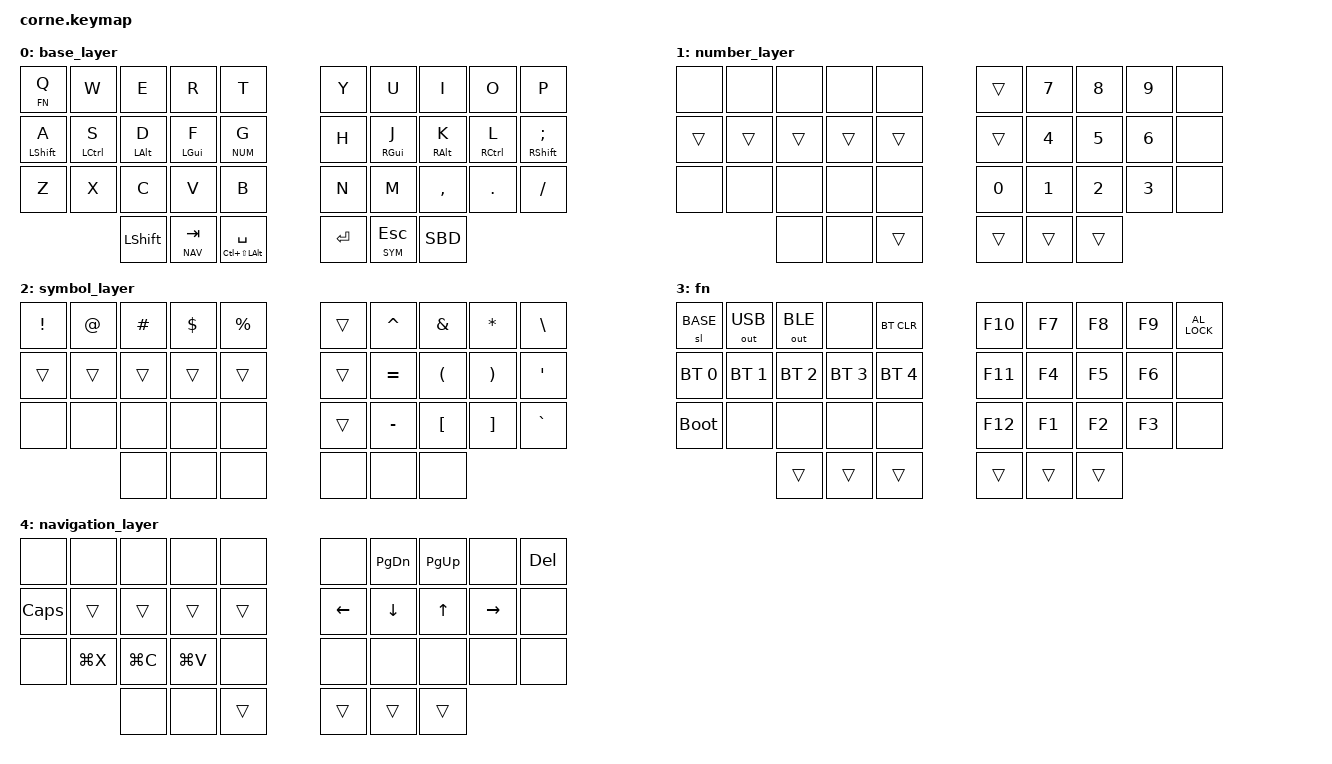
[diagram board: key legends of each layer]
#include <dt-bindings/zmk/keys.h>
#include <dt-bindings/zmk/outputs.h>
#include <dt-bindings/zmk/bt.h>

#include <behaviors.dtsi>

#include "zmk-helpers/helper.h"
#include "keys/36.h"


// global
#define QUICK_TAP_MS 150
#define TAPPING_TERM_MS 200
#define PRIOR_IDLE_MS 150

// layers
#define BASE 0
#define NUM 1
#define SYM 2
#define FN 3
#define NAV 4

// redefined keycodes
#define _LWIN_    &kp LEFT_WIN
#define _RALT_    &kp RIGHT_ALT
#define _SPC_     &kp SPACE
#define _RET_     &kp RETURN 
#define _CUT_     &kp LG(X)
#define _COPY_    &kp LG(C)
#define _PASTE_   &kp LG(V)

#define _MO_NUM_ &mo NUMBER

#define OUTTOG   &out OUT_TOG // toggle keyboard output bluetooth/usb
#define ___      &trans      //  transparent
#define _x_      &none

#define MEH LC(LS(LALT))

// tap: sticky-shift | shift + tap/ double-tap: caps-word | hold: shifts
ZMK_MOD_MORPH(smart_shift,
    bindings = <&sk LSHFT>, <&caps_word>;
    mods = <(MOD_LSFT)>;
)

/* left-hand HRMs */
ZMK_BEHAVIOR(hml, hold_tap,
    flavor = "balanced";
    tapping-term-ms = <TAPPING_TERM_MS>;
    quick-tap-ms = <QUICK_TAP_MS>;
    require-prior-idle-ms = <PRIOR_IDLE_MS>;
    bindings = <&kp>, <&kp>;
    hold-trigger-key-positions = <LEFT_KEYS THUMB_KEYS>;
    hold-trigger-on-release;
)

/* right-hand HRMs */
ZMK_BEHAVIOR(hmr, hold_tap,
    flavor = "balanced";
    tapping-term-ms = <TAPPING_TERM_MS>;
    quick-tap-ms = <QUICK_TAP_MS>;
    require-prior-idle-ms = <PRIOR_IDLE_MS>;
    bindings = <&kp>, <&kp>;
    hold-trigger-key-positions = <RIGHT_KEYS THUMB_KEYS>;
    hold-trigger-on-release;
)

/* left-hand HRM shift */
ZMK_BEHAVIOR(hml_s, hold_tap,
    flavor = "balanced";
    tapping-term-ms = <200>;
    quick-tap-ms = <175>;                // repeat on tap-into-hold
    require-prior-idle-ms = <150>;         // requires PR #1387
    bindings = <&kp>, <&kp>;
    hold-trigger-key-positions = <LEFT_KEYS THUMB_KEYS>;
    // hold-trigger-on-release;             // delay positional check until key-release
)

/* right-hand HRM shift */
ZMK_BEHAVIOR(hmr_s, hold_tap,
    flavor = "balanced";
    tapping-term-ms = <200>;
    quick-tap-ms = <175>;                // repeat on tap-into-hold
    require-prior-idle-ms = <150>;         // requires PR #1387
    bindings = <&kp>, <&kp>;
    hold-trigger-key-positions = <RIGHT_KEYS THUMB_KEYS>;
    // hold-trigger-on-release;             // delay positional check until key-release
)


/ {
  chosen {
    zmk,matrix_transform = &five_column_transform;
  };
};
/ {
  combos {
      compatible = "zmk,combos";
      as_tab_combo {
        timeout-ms = <50>; // Adjust as needed
        bindings = <&kp TAB>; // Action: Backspace
        key-positions = <10 11>;
        layers = < BASE >;
    };
      jk_tilda_combo {
        timeout-ms = <50>; // Adjust as needed
        bindings = <&kp LS(GRAVE)>; // Action: Backspace
        key-positions = <16 17>;
        layers = < BASE >;
      };
      lcolon_pipe_combo {
        timeout-ms = <50>; // Adjust as needed
        bindings = <&kp LS(BSLH)>; // Action: Backspace
        key-positions = <18 19>;
        layers = < BASE >;
      };

  };
  behaviors {
    hm: homerow_mods {
      compatible = "zmk,behavior-hold-tap";
      flavor = "balanced";
      tapping-term-ms = <200>;
      quick-tap-ms = <QUICK_TAP_MS>; 
      bindings = <&kp>, <&kp>;
      // label = "HOMEROW_MODS";
      #binding-cells = <2>;
      // hold-trigger-key-positions = <TRIGGER_POS>;
      hold-trigger-on-release;

    };
    SBD: S_BSPC_DEL {
         compatible = "zmk,behavior-mod-morph";
            #binding-cells = <0>;
            bindings = <&kp BSPC>, <&kp DEL>;
            mods = <(MOD_LSFT|MOD_RSFT)>;
    };
    oneshot_esc: oneshot {
          compatible = "zmk,behavior-oneshot";
          label = "OneShot ESC";
          #binding-cells = <0>;
      };
  };

};

/ {
  keymap {
    compatible = "zmk,keymap";
    base_layer { 

      bindings = <
        // ╭────────────────────────────────────────────────────────────────╮   ╭────────────────────────────────────────────────────────────────╮
        // │     Q     │     W     │     E     │    R      │     T     │   │     Y     │     U    YM │     I     │     O     │     P     │
              &lt FN Q       &kp W       &kp E      &kp R        &kp T           &kp Y       &kp U       &kp I       &kp O       &kp P
        // ├────────────┼────────────┼────────────┼────────────┼────────────┤   ├────────────┼────────────┼────────────┼  ──────────┼───────────┤
        // │     A     │     S     │     D     │     F     │     G     │   │     H     │     J     │     K     │     L     │     '     │
            &hml LSHIFT A  &hml LCTRL S  &hml LALT D  &hml LGUI F  &lt NUM G      &kp H     &hmr RGUI J   &hmr RALT K    &hmr RCTRL L   &hmr RSHIFT SEMI
        // ├───────────┼───────────┼───────────┼───────────┼───────────┤   ├───────────┼───────────┼───────────┼───────────┼───────────┤
        // │     Z     │     X     │     C     │     V     │     B     │   │     N     │     M     │    ,/;    │    ./:    │     /     │
               &kp Z       &kp X       &kp C       &kp V       &kp B           &kp N       &kp M     &kp COMMA     &kp DOT      &kp FSLH
        // ╰───────────┼───────────┼───────────┼───────────┼───────────╯   ╰───────────┼───────────┼───────────┼───────────┼───────────╯
                                     &kp LSHIFT  &lt NAV TAB  &hml MEH SPACE         _RET_    &lt SYM ESC    &SBD 
        //                         │                                   │   │                                   │
        //                         ╰───────────────────────────────────╯   ╰───────────────────────────────────╯
      >;
    };
    number_layer { 

      bindings = <
        // ╭───────────────────────────────────────────────────────────╮   ╭───────────────────────────────────────────────────────────╮
        // │     _     │     _     │     _     │     _     │     _     │   │     _     │     _     │     _     │     _     │     _     │
                _x_         _x_         _x_         _x_         _x_             ___        &kp N7       &kp N8       &kp N9        _x_
        // ├───────────┼───────────┼───────────┼───────────┼───────────┤   ├───────────┼───────────┼───────────┼───────────┼───────────┤
        // │     _     │     _     │     _     │     _     │     _     │   │     _     │     _     │     _     │     _     │     _     │
                ___         ___         ___         ___         ___             ___        &kp N4       &kp N5       &kp N6        _x_
        // ├───────────┼───────────┼───────────┼───────────┼───────────┤   ├───────────┼───────────┼───────────┼───────────┼───────────┤
        // │     _     │     _     │     _     │     _     │     _     │   │     _     │     _     │     _     │     _     │     _     │
                _x_         _x_         _x_         _x_         _x_            &kp N0       &kp N1       &kp N2       &kp N3        _x_
        // ╰───────────┼───────────┼───────────┼───────────┼───────────╯   ╰───────────┼───────────┼───────────┼───────────┼───────────╯
                                        _x_         _x_         ___             ___         ___         ___ 
        //                         │                                   │   │                                   │
        //                         ╰───────────────────────────────────╯   ╰───────────────────────────────────╯
      >;
    };
    symbol_layer {

      bindings = <
        // ╭───────────────────────────────────────────────────────────╮   ╭───────────────────────────────────────────────────────────╮
        // │     _     │     _     │     _     │     _     │     _     │   │     _     │     _     │     _     │     _     │     _     │
              &kp EXCL     &kp AT     &kp HASH    &kp DLLR   &kp PRCNT          ___      &kp CARET    &kp AMPS    &kp STAR    &kp BSLH
        // ├───────────┼───────────┼───────────┼───────────┼───────────┤   ├───────────┼───────────┼───────────┼───────────┼───────────┤
        // │     _     │     _     │     _     │     _     │     _     │   │     _     │     _     │     _     │     _     │     _     │
                ___         ___         ___         ___         ___           ___ &kp EQUAL   &kp LPAR   &kp RPAR              &kp APOS
        // ├───────────┼───────────┼───────────┼───────────┼───────────┤   ├───────────┼───────────┼───────────┼───────────┼───────────┤
        // │     _     │     _     │     _     │     _     │     _     │   │     _     │ {, <S>[   │  {, <S>[  │     _     │     _     │
                _x_         _x_         _x_         _x_         _x_          ___ &kp MINUS    &kp LBKT     &kp RBKT              &kp GRAVE
        // ╰───────────┼───────────┼───────────┼───────────┼───────────╯   ╰───────────┼───────────┼───────────┼───────────┼───────────╯
                                        _x_         _x_         _x_             _x_         _x_         _x_
        //                         │                                   │   │                                   │
        //                         ╰───────────────────────────────────╯   ╰───────────────────────────────────╯
      >;
    };

    fn { 

      bindings = <
        // ╭───────────────────────────────────────────────────────────╮   ╭───────────────────────────────────────────────────────────╮
        // │     _     │     _     │     _     │     _     │     _     │   │     _     │     _     │     _     │     _     │     _     │
              &sl BASE  &out OUT_USB &out OUT_BLE   _x_     &bt BT_CLR        &kp F10      &kp F7      &kp F8      &kp F9  &kp C_AL_LOCK
        // ├───────────┼───────────┼───────────┼───────────┼───────────┤   ├───────────┼───────────┼───────────┼───────────┼───────────┤
        // │     _     │     _     │     _     │     _     │     _     │   │     _     │     _     │     _     │     _     │     _     │
            &bt BT_SEL 0 &bt BT_SEL 1 &bt BT_SEL 2 &bt BT_SEL 3 &bt BT_SEL 4  &kp F11      &kp F4       &kp F5       &kp F6     _x_
        // ├───────────┼───────────┼───────────┼───────────┼───────────┤   ├───────────┼───────────┼───────────┼───────────┼───────────┤
        // │     _     │     _     │     _     │     _     │     _     │   │     _     │           │           │     _     │     _     │
             &bootloader    _x_         _x_         _x_        _x_            &kp F12      &kp F1       &kp F2     &kp F3       _x_
        // ╰───────────┼───────────┼───────────┼───────────┼───────────╯   ╰───────────┼───────────┼───────────┼───────────┼───────────╯
                                        ___         ___         ___             ___         ___         ___ 
        //                         │                                   │   │                                   │
        //                         ╰───────────────────────────────────╯   ╰───────────────────────────────────╯
      >;
    };
    navigation_layer { 

      bindings = <
        // ╭───────────────────────────────────────────────────────────╮   ╭───────────────────────────────────────────────────────────╮
        // │     _     │     _     │     _     │     _     │     _     │   │     _     │     _     │     _     │     _     │     _     │
                _x_         _x_         _x_         _x_         _x_             _x_      &kp PG_DN   &kp PG_UP      _x_       &kp DEL 
        // ├───────────┼───────────┼───────────┼───────────┼───────────┤   ├───────────┼───────────┼───────────┼───────────┼───────────┤
        // │     _     │     _     │     _     │     _     │     _     │   │     _     │     _     │     _     │     _     │     _     │
              &kp CAPS      ___         ___         ___         ___           &kp LEFT    &kp DOWN     &kp UP    &kp RIGHT      _x_
        // ├───────────┼───────────┼───────────┼───────────┼───────────┤   ├───────────┼───────────┼───────────┼───────────┼───────────┤
        // │     _     │     _     │     _     │     _     │     _     │   │     _     │     _     │     _     │     _     │     _     │
                _x_         _CUT_      _COPY_     _PASTE_       _x_             _x_         _x_         _x_         _x_         _x_
        // ╰───────────┼───────────┼───────────┼───────────┼───────────╯   ╰───────────┼───────────┼───────────┼───────────┼───────────╯
                                        _x_         _x_         ___             ___         ___         ___
        //                         │                                   │   │                                   │
        //                         ╰───────────────────────────────────╯   ╰───────────────────────────────────╯
      >;
    };
  };
};

//                                  Template for new layers all keys are transparent
//      ╭───────────────────────────────────────────────────────────╮   ╭───────────────────────────────────────────────────────────╮
//      │     _     │     _     │     _     │     _     │     _     │   │     _     │     _     │     _     │     _     │     _     │
//           ___          ___         ___         ___         ___             ___         ___         ___         ___         ___
//      ├───────────┼───────────┼───────────┼───────────┼───────────┤   ├───────────┼───────────┼───────────┼───────────┼───────────┤
//      │     _     │     _     │     _     │     _     │     _     │   │     _     │     _     │     _     │     _     │     _     │
//           ___         ___         ___         ___         ___             ___         ___         ___         ___         ___
//      ├───────────┼───────────┼───────────┼───────────┼───────────┤   ├───────────┼───────────┼───────────┼───────────┼───────────┤
//      │     _     │     _     │     _     │     _     │     _     │   │     _     │     _     │     _     │     _     │     _     │
//           ___         ___         ___         ___         ___             ___         ___         ___         ___         ___
//      ╰───────────┼───────────┼───────────┼───────────┼───────────╯   ╰───────────┼───────────┼───────────┼───────────┼───────────╯
//                                   ___         ___         ___            ___         ___         ___
//                              │                                   │   │                                   │
//                              ╰───────────────────────────────────╯   ╰───────────────────────────────────╯
//



// vim:ft=cpp
